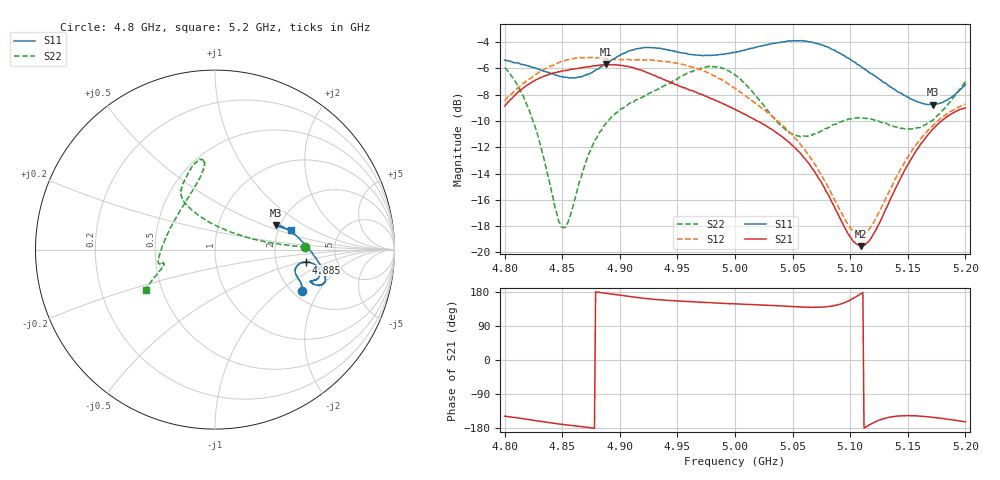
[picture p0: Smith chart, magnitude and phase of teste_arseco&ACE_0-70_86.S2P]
! Network Analyzer HP8722D
! Hewlett-Packard
! Data name: Linha & Wilkinson
! Saver's name: Rodrigo Anjos
! Comments: Teste da utilização de aquisição
! continua pelo VNA HP8722D
! Time and date: 8/5/2025 13:28
!  Frequency  S11  S21  S12  S22
# HZ  S  MA R 50
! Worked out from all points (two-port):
!   401 points, 4.8 GHz to 5.2 GHz, reference 50 ohm
!   highest |S21| = -5.70 dB at 4.888 GHz (marker M1); lowest = -19.5 dB at 5.109 GHz (marker M2)
!   |S21| within 3 dB of the highest: 4.802 GHz to 4.99 GHz (187.7 MHz wide, 3.83 % of centre)
!   lowest |S11| = -8.8 dB at 5.172 GHz (marker M3), VSWR 2.15, Z = 95.1 + j29.7 ohm
!   |S11| at or under -10 dB: nowhere
!   |S22| runs from -18.1 to -5.8 dB; largest |S21 - S12| = 1.1
!   S11 on the Smith chart (normalised r, x): 4.8 GHz: 2.24, -1.45; 4.885 GHz: 2.97, -0.57; 5.2 GHz: 2.33, +0.63
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4.8e9  0.5381 -25.3  0.3602 -148.2  0.3777 11.3  0.5038 1.7
4.811e9  0.5251 -22.8  0.4041 -152.7  0.4213 9.7  0.4339 2.9
4.823e9  0.5077 -20.7  0.442 -158.0  0.4603 7.8  0.3314 6.0
4.849e9  0.4661 -16.2  0.4888 -169.4  0.5317 3.7  0.1253 56.7
4.855e9  0.4618 -14.8  0.4927 -171.8  0.5407 3.0  0.13 84.1
4.867e9  0.4648 -11.1  0.5032 -175.9  0.5483 1.2  0.1967 113.0
4.885e9  0.5113 -8.0  0.5157 177.4  0.548 -0.3  0.2972 122.5
4.888e9  0.5209 -7.7  0.5188 176.0  0.5449 -0.3  0.3092 122.6
4.911e9  0.5878 -10.5  0.5056 166.5  0.5393 0.0  0.3732 120.6
4.934e9  0.5979 -15.5  0.4614 159.0  0.5365 -0.9  0.418 114.0
4.976e9  0.5616 -18.4  0.3904 151.8  0.4818 -4.6  0.5089 100.0
5e9  0.5761 -19.2  0.3499 147.9  0.4209 -4.6  0.4729 97.3
5.018e9  0.6021 -19.4  0.3179 146.0  0.368 -2.2  0.3934 103.9
5.045e9  0.635 -17.2  0.2664 141.7  0.2932 3.6  0.2906 132.5
5.067e9  0.6296 -13.3  0.2087 139.2  0.2243 9.6  0.2786 164.5
5.098e9  0.549 -3.1  0.118 155.2  0.1283 36.3  0.321 -170.3
5.109e9  0.5106 2.1  0.1056 174.2  0.1167 57.6  0.3247 -167.2
5.119e9  0.4774 7.2  0.1151 -167.2  0.1271 77.2  0.3201 -165.7
5.134e9  0.4286 14.2  0.1563 -150.9  0.171 94.7  0.3045 -165.4
5.154e9  0.3808 20.6  0.2307 -147.2  0.2454 102.1  0.295 -164.0
5.172e9  0.3647 21.8  0.2947 -151.2  0.3046 103.2  0.3191 -160.0
5.2e9  0.4351 14.7  0.3544 -163.0  0.3666 103.5  0.4458 -150.1
